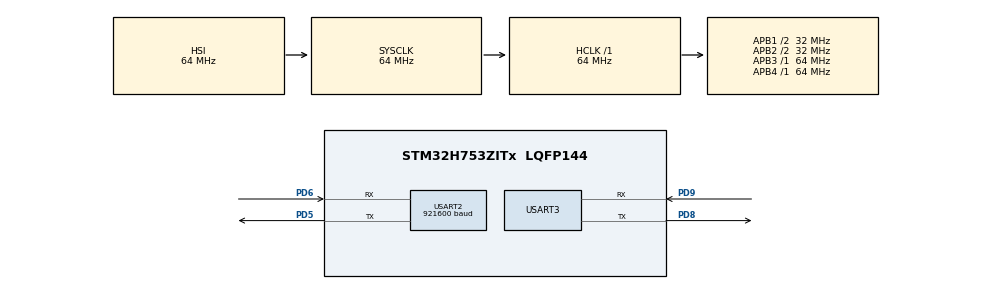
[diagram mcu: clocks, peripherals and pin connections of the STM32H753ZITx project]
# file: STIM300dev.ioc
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CORTEX_M7.default_mode_Activation=1
Dma.Request0=USART2_RX
Dma.USART2_RX.0.Direction=DMA_PERIPH_TO_MEMORY
Dma.USART2_RX.0.EventEnable=DISABLE
Dma.USART2_RX.0.FIFOMode=DMA_FIFOMODE_DISABLE
Dma.USART2_RX.0.Instance=DMA1_Stream1
Dma.USART2_RX.0.MemDataAlignment=DMA_MDATAALIGN_BYTE
Dma.USART2_RX.0.MemInc=DMA_MINC_ENABLE
Dma.USART2_RX.0.Mode=DMA_CIRCULAR
Dma.USART2_RX.0.PeriphDataAlignment=DMA_PDATAALIGN_BYTE
Dma.USART2_RX.0.PeriphInc=DMA_PINC_DISABLE
Dma.USART2_RX.0.Polarity=HAL_DMAMUX_REQ_GEN_RISING
Dma.USART2_RX.0.Priority=DMA_PRIORITY_LOW
Dma.USART2_RX.0.RequestNumber=1
Dma.USART2_RX.0.SignalID=NONE
Dma.USART2_RX.0.SyncEnable=DISABLE
Dma.USART2_RX.0.SyncPolarity=HAL_DMAMUX_SYNC_NO_EVENT
Dma.USART2_RX.0.SyncRequestNumber=1
Dma.USART2_RX.0.SyncSignalID=NONE
Mcu.Family=STM32H7
Mcu.Name=STM32H753ZITx
Mcu.Package=LQFP144
NVIC.DMA1_Stream1_IRQn=true\:0\:0\:false\:false\:true\:false\:true\:true
NVIC.PriorityGroup=NVIC_PRIORITYGROUP_4
NVIC.USART2_IRQn=true\:0\:0\:false\:false\:true\:true\:true\:true
PD5.Mode=Asynchronous
PD5.Signal=USART2_TX
PD6.Mode=Asynchronous
PD6.Signal=USART2_RX
PD8.Mode=Asynchronous
PD8.Signal=USART3_TX
PD9.Mode=Asynchronous
PD9.Signal=USART3_RX
ProjectManager.HeapSize=0x200
ProjectManager.StackSize=0x400
ProjectManager.TargetToolchain=STM32CubeIDE
RCC.ADCFreq_Value=129000000
RCC.APB1Freq_Value=32000000
RCC.APB2Freq_Value=32000000
RCC.APB3Freq_Value=64000000
RCC.APB4Freq_Value=64000000
RCC.CortexFreq_Value=64000000
RCC.D2PPRE1=RCC_APB1_DIV2
RCC.D2PPRE2=RCC_APB2_DIV2
RCC.HCLKFreq_Value=64000000
RCC.SYSCLKFreq_VALUE=64000000
RCC.USBFreq_Value=129000000
USART2.BaudRate=921600
USART2.VirtualMode-Asynchronous=VM_ASYNC
USART3.VirtualMode-Asynchronous=VM_ASYNC
VP_MEMORYMAP_VS_MEMORYMAP.Mode=CurAppReg
board=custom

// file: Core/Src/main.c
/* USER CODE BEGIN Header */
/**
  ******************************************************************************
  * @file           : main.c
  * @brief          : Main program body
  ******************************************************************************
  * @attention
  *
  * Copyright (c) 2026 STMicroelectronics.
  * All rights reserved.
  *
  * This software is licensed under terms that can be found in the LICENSE file
  * in the root directory of this software component.
  * If no LICENSE file comes with this software, it is provided AS-IS.
  *
  ******************************************************************************
  */
/* USER CODE END Header */
#include "main.h"

/* USER CODE BEGIN Includes */
#include <stdio.h>
#include <string.h>          // for memcpy
/* USER CODE END Includes */

/* USER CODE BEGIN PTD */
// One sensor group as sent by the STIM: X, Y, Z followed by one status byte (Table 6-19)
typedef struct {
  int32_t xyz[3];      // 24-bit two's complement raw counts, sign-extended to 32 bits
  uint8_t status;      // status byte, Table 6-22 (0 = OK)
} stim_axis3_t;

// Temperatures for one sensor group: X, Y, Z (16-bit) followed by one status byte
typedef struct {
  int16_t xyz[3];      // 16-bit two's complement raw counts
  uint8_t status;
} stim_temp3_t;

// One decoded Normal Mode datagram (ID 0xAF), raw counts, no unit conversion
typedef struct {
  stim_axis3_t gyro;         // bytes 1-10
  stim_axis3_t accel;        // bytes 11-20
  stim_axis3_t incl;         // bytes 21-30
  stim_temp3_t gyro_temp;    // bytes 31-37
  stim_temp3_t accel_temp;   // bytes 38-44
  stim_temp3_t incl_temp;    // bytes 45-51
  int32_t      aux;          // bytes 52-54 (24-bit)
  uint8_t      aux_status;   // byte 55
  uint8_t      counter;      // byte 56, internal sample counter (2000/s, wraps at 255)
  uint16_t     latency_us;   // bytes 57-58, unsigned, already in microseconds
  uint8_t      valid;        // 1 if all 7 status bytes are 0
  uint64_t     timestamp_us; // filled in later (step 5)
} stim_sample_t;
/* USER CODE END PTD */

/* USER CODE BEGIN PD */
#define RX_BUF_SIZE 1024
#define STIM_FRAME_LEN 63
#define STIM_FRAME_ID 0xAF

//
#define STIM_S24_SIGN_BIT   (1u << 23)     // sign bit of a 24-bit two's complement value
#define STIM_S24_EXTEND     0xFF000000u    // bits 31-24: set to 1 for negative values -- sign extension

//crc
#define STIM_CRC_POLY      0x04C11DB7u   // datasheet 6.3.7
#define STIM_CRC_SEED      0xFFFFFFFFu   // datasheet 6.3.7
#define STIM_CRC_DATA_LEN  59            // bytes 0..58 are covered by the CRC

/* USER CODE END PD */

UART_HandleTypeDef huart2;
UART_HandleTypeDef huart3;
DMA_HandleTypeDef hdma_usart2_rx;

/* USER CODE BEGIN PV */
__attribute__((aligned(32)))
static uint8_t stim_rx[RX_BUF_SIZE];          // DMA writes STIM300 bytes here (circular)
static uint8_t stim_frame[STIM_FRAME_LEN];
static stim_sample_t stim_latest;   // most recent verified, decoded sample
static uint16_t rx_last = 0;                  // where we stopped reading last time
static int  stim_frame_wr_index = 0;          // Write index for stim_frame 0 to 63
static volatile uint32_t stim_frames = 0;     // how many complete frames have been assembled?
static volatile uint32_t stim_bytes = 0;      // bytes received this second
static uint8_t stim_synced = 0;
static volatile uint32_t stim_errors = 0;     // UART errors (framing, overrun, noise)
//crc
static volatile uint32_t stim_crc_errors = 0;   // frames dropped because the CRC didn't match

// Frame 20 pre-captured data, used for a CRC self-test at startup (expected CRC = 9E9ED1D9)
static const uint8_t stim_test_frame[STIM_FRAME_LEN] = {
  0xAF,0xFF,0xE9,0xF8,0xFF,0xB0,0x2E,0x00,0x3E,0x40,0x00,0xFF,0xE2,0x3B,0xFF,0xF3,
  0x00,0x0F,0xEE,0x91,0x00,0xFF,0x63,0x92,0xFF,0xB1,0x47,0x41,0xF2,0x88,0x00,0x25,
  0xE7,0x25,0xE4,0x25,0x67,0x00,0x25,0xF7,0x25,0xEC,0x26,0x04,0x00,0x26,0x80,0x26,
  0xAC,0x26,0x80,0x00,0xFF,0xFD,0x43,0x00,0x41,0x01,0xFB,0x9E,0x9E,0xD1,0xD9 };

//state
typedef enum {
    HUNT,
    COLLECT
} stim_frame_state_t;

static stim_frame_state_t stim_frame_state = HUNT;
/* USER CODE END PV */

void SystemClock_Config(void);
static void MPU_Config(void);
static void MX_GPIO_Init(void);
static void MX_DMA_Init(void);
static void MX_USART3_UART_Init(void);
static void MX_USART2_UART_Init(void);
/* USER CODE BEGIN PFP */
static void stim_feed(const uint8_t *data, uint16_t len);
static void stim_decode(const uint8_t *frame, stim_sample_t *out);

static int32_t stim_s24(const uint8_t *p);
static int16_t stim_s16(const uint8_t *p);

//crc
static uint32_t stim_crc32_byte(uint32_t crc, uint8_t byte);
static int stim_frame_crc_ok(const uint8_t *frame);
/* USER CODE END PFP */

/* USER CODE BEGIN 0 */
// printf ends up here: send each character out USART3 (ST-LINK virtual COM port)
int __io_putchar(int ch)
{
  HAL_UART_Transmit(&huart3, (uint8_t *)&ch, 1, HAL_MAX_DELAY);
  return ch;
}
/* USER CODE END 0 */

int main(void)
{

  /* USER CODE BEGIN 1 */
	//SCnSCB->ACTLR |= SCnSCB_ACTLR_DISDEFWBUF_Msk;   // DEBUG: make bus faults precise
  /* USER CODE END 1 */

  /* MPU Configuration--------------------------------------------------------*/
  MPU_Config();

  /* MCU Configuration--------------------------------------------------------*/

  /* Reset of all peripherals, Initializes the Flash interface and the Systick. */
  HAL_Init();

  /* Configure the system clock */
  SystemClock_Config();

  /* Initialize all configured peripherals */
  MX_GPIO_Init();
  MX_DMA_Init();
  MX_USART3_UART_Init();
  MX_USART2_UART_Init();
  /* USER CODE BEGIN 2 */
  setvbuf(stdout, NULL, _IONBF, 0);       // turn off printf buffering so text appears immediately
  printf("\r\nSTIM300 test start\r\n");   // board booted and printf works
  //crc
  printf("CRC self-test: %s\r\n", stim_frame_crc_ok(stim_test_frame) ? "PASS" : "FAIL");
  printf("s24 test: %ld %ld\r\n", (long)stim_s24(&stim_test_frame[1]), (long)stim_s24(&stim_test_frame[7]));
  stim_sample_t t;
  stim_decode(stim_test_frame, &t);
  printf("decode test: accZ %ld inclZ %ld gyroT_X %d lat %u cnt %u valid %u\r\n",
         (long)t.accel.xyz[2], (long)t.incl.xyz[2], (int)t.gyro_temp.xyz[0],
         (unsigned)t.latency_us, (unsigned)t.counter, (unsigned)t.valid);
  // next two lines fixes uart error at startup..
  __HAL_UART_SEND_REQ(&huart2, UART_RXDATA_FLUSH_REQUEST);  // throw away the stale byte sitting in RDR
  __HAL_UART_CLEAR_OREFLAG(&huart2);                        // clear the overrun flag left over from before
  //Start USART2 reception with circular DMA + idle-line detection (runs forever)
  if (HAL_UARTEx_ReceiveToIdle_DMA(&huart2, stim_rx, RX_BUF_SIZE) != HAL_OK)
  {
    printf("DMA start failed\r\n");
  }//georg
  uint32_t t_last = HAL_GetTick();        // current time in ms, for the 1 s status print
  /* USER CODE END 2 */

  /* Infinite loop */
  while (1)
  {

    /* USER CODE BEGIN 3 */
    if (HAL_GetTick() - t_last >= 1000)
    {
      t_last += 1000;
      uint32_t n = stim_bytes;
      stim_bytes = 0;
      uint32_t f = stim_frames;
      stim_frames = 0;
      //printf("STIM: %lu bytes/s, %lu frames/s, errors: %lu\r\n", n, f, stim_errors);
      //crc
      printf("STIM: %lu bytes/s, %lu frames/s, crc errors: %lu, uart errors: %lu\r\n",
             n, f, stim_crc_errors, stim_errors);
      printf("  accZ %ld  inclZ %ld  gyroT_X %d  lat %u  cnt %u  valid %u\r\n",
             (long)stim_latest.accel.xyz[2], (long)stim_latest.incl.xyz[2],
             (int)stim_latest.gyro_temp.xyz[0], (unsigned)stim_latest.latency_us,
             (unsigned)stim_latest.counter, (unsigned)stim_latest.valid);
    }
  }
  /* USER CODE END 3 */
}

void SystemClock_Config(void)
{
  RCC_OscInitTypeDef RCC_OscInitStruct = {0};
  RCC_ClkInitTypeDef RCC_ClkInitStruct = {0};

  /** Supply configuration update enable
  */
  HAL_PWREx_ConfigSupply(PWR_LDO_SUPPLY);

  /** Configure the main internal regulator output voltage
  */
  __HAL_PWR_VOLTAGESCALING_CONFIG(PWR_REGULATOR_VOLTAGE_SCALE3);

  while(!__HAL_PWR_GET_FLAG(PWR_FLAG_VOSRDY)) {}

  /** Initializes the RCC Oscillators according to the specified parameters
  * in the RCC_OscInitTypeDef structure.
  */
  RCC_OscInitStruct.OscillatorType = RCC_OSCILLATORTYPE_HSI;
  RCC_OscInitStruct.HSIState = RCC_HSI_DIV1;
  RCC_OscInitStruct.HSICalibrationValue = RCC_HSICALIBRATION_DEFAULT;
  RCC_OscInitStruct.PLL.PLLState = RCC_PLL_NONE;
  if (HAL_RCC_OscConfig(&RCC_OscInitStruct) != HAL_OK)
  {
    Error_Handler();
  }

  /** Initializes the CPU, AHB and APB buses clocks
  */
  RCC_ClkInitStruct.ClockType = RCC_CLOCKTYPE_HCLK|RCC_CLOCKTYPE_SYSCLK
                              |RCC_CLOCKTYPE_PCLK1|RCC_CLOCKTYPE_PCLK2
                              |RCC_CLOCKTYPE_D3PCLK1|RCC_CLOCKTYPE_D1PCLK1;
  RCC_ClkInitStruct.SYSCLKSource = RCC_SYSCLKSOURCE_HSI;
  RCC_ClkInitStruct.SYSCLKDivider = RCC_SYSCLK_DIV1;
  RCC_ClkInitStruct.AHBCLKDivider = RCC_HCLK_DIV1;
  RCC_ClkInitStruct.APB3CLKDivider = RCC_APB3_DIV1;
  RCC_ClkInitStruct.APB1CLKDivider = RCC_APB1_DIV2;
  RCC_ClkInitStruct.APB2CLKDivider = RCC_APB2_DIV2;
  RCC_ClkInitStruct.APB4CLKDivider = RCC_APB4_DIV1;

  if (HAL_RCC_ClockConfig(&RCC_ClkInitStruct, FLASH_LATENCY_1) != HAL_OK)
  {
    Error_Handler();
  }
}

static void MX_USART2_UART_Init(void)
{

  huart2.Instance = USART2;
  huart2.Init.BaudRate = 921600;
  huart2.Init.WordLength = UART_WORDLENGTH_8B;
  huart2.Init.StopBits = UART_STOPBITS_1;
  huart2.Init.Parity = UART_PARITY_NONE;
  huart2.Init.Mode = UART_MODE_TX_RX;
  huart2.Init.HwFlowCtl = UART_HWCONTROL_NONE;
  huart2.Init.OverSampling = UART_OVERSAMPLING_16;
  huart2.Init.OneBitSampling = UART_ONE_BIT_SAMPLE_DISABLE;
  huart2.Init.ClockPrescaler = UART_PRESCALER_DIV1;
  huart2.AdvancedInit.AdvFeatureInit = UART_ADVFEATURE_NO_INIT;
  if (HAL_UART_Init(&huart2) != HAL_OK)
  {
    Error_Handler();
  }
  if (HAL_UARTEx_SetTxFifoThreshold(&huart2, UART_TXFIFO_THRESHOLD_1_8) != HAL_OK)
  {
    Error_Handler();
  }
  if (HAL_UARTEx_SetRxFifoThreshold(&huart2, UART_RXFIFO_THRESHOLD_1_8) != HAL_OK)
  {
    Error_Handler();
  }
  if (HAL_UARTEx_DisableFifoMode(&huart2) != HAL_OK)
  {
    Error_Handler();
  }

}

static void MX_USART3_UART_Init(void)
{

  huart3.Instance = USART3;
  huart3.Init.BaudRate = 115200;
  huart3.Init.WordLength = UART_WORDLENGTH_8B;
  huart3.Init.StopBits = UART_STOPBITS_1;
  huart3.Init.Parity = UART_PARITY_NONE;
  huart3.Init.Mode = UART_MODE_TX_RX;
  huart3.Init.HwFlowCtl = UART_HWCONTROL_NONE;
  huart3.Init.OverSampling = UART_OVERSAMPLING_16;
  huart3.Init.OneBitSampling = UART_ONE_BIT_SAMPLE_DISABLE;
  huart3.Init.ClockPrescaler = UART_PRESCALER_DIV1;
  huart3.AdvancedInit.AdvFeatureInit = UART_ADVFEATURE_NO_INIT;
  if (HAL_UART_Init(&huart3) != HAL_OK)
  {
    Error_Handler();
  }
  if (HAL_UARTEx_SetTxFifoThreshold(&huart3, UART_TXFIFO_THRESHOLD_1_8) != HAL_OK)
  {
    Error_Handler();
  }
  if (HAL_UARTEx_SetRxFifoThreshold(&huart3, UART_RXFIFO_THRESHOLD_1_8) != HAL_OK)
  {
    Error_Handler();
  }
  if (HAL_UARTEx_DisableFifoMode(&huart3) != HAL_OK)
  {
    Error_Handler();
  }

}

static void MX_DMA_Init(void)
{

  /* DMA controller clock enable */
  __HAL_RCC_DMA1_CLK_ENABLE();

  /* DMA interrupt init */
  /* DMA1_Stream1_IRQn interrupt configuration */
  HAL_NVIC_SetPriority(DMA1_Stream1_IRQn, 0, 0);
  HAL_NVIC_EnableIRQ(DMA1_Stream1_IRQn);

}

static void MX_GPIO_Init(void)
{

  /* GPIO Ports Clock Enable */
  __HAL_RCC_GPIOD_CLK_ENABLE();

}

/* USER CODE BEGIN 4 */

static int32_t stim_s24(const uint8_t *p)
{
  uint32_t v = ((int32_t)p[0] << 16) | ((int32_t)p[1] << 8) | (int32_t)p[2];  // 0 .. 0xFFFFFF
  if (v & STIM_S24_SIGN_BIT)    // bit 23 set: the 24-bit value is negative
  {
    v |= STIM_S24_EXTEND;            // Sign extension -- pad 1's to bit 31-24 so it's a negative number
  }
  return (int32_t)v; // cast signed v
}

static int16_t stim_s16(const uint8_t *p)
{
  uint16_t v = ((uint16_t)p[0] << 8) | (uint16_t)p[1];
  return (int16_t)v;
}

// Called by HAL (from interrupt) on DMA half-full, DMA full, and UART idle line
void HAL_UARTEx_RxEventCallback(UART_HandleTypeDef *huart, uint16_t pos)
{
  if (huart->Instance != USART2) return;   // only handle the STIM300 UART

  // D-cache is off right now; this keeps the code correct if it is enabled later
  SCB_InvalidateDCache_by_Addr((uint32_t *)stim_rx, RX_BUF_SIZE); // relies that stim_rx is aligned 32 bit

  // pos     = how far the DMA has written into the buffer (0..1024)
  // rx_last = where we stopped reading last time (not necessarily a datagram boundary)
  if (pos != rx_last)
  {
    if (pos > rx_last)
    {
      // one continuous block
      stim_feed(&stim_rx[rx_last], pos - rx_last); // aka send dma buffer from rx_last to (pos-rx_last )
    }
    else
    {
      // DMA wrapped around: rest of the buffer, then the start
      if (rx_last < RX_BUF_SIZE)
      {
        stim_feed(&stim_rx[rx_last], RX_BUF_SIZE - rx_last);
      }
      stim_feed(stim_rx, pos);
    }
    rx_last = pos;   // keep 1024 as-is so a duplicate "pos = 1024" event is ignored
  }
}

// Any UART error stops reception in HAL: count it and restart
void HAL_UART_ErrorCallback(UART_HandleTypeDef *huart)
{
  if (huart->Instance == USART2)
  {
    stim_errors++;
    rx_last = 0;
    HAL_UARTEx_ReceiveToIdle_DMA(&huart2, stim_rx, RX_BUF_SIZE);
  }
}

//crc
// Feed one byte into the CRC-32: MSB first, no reflection (datasheet 6.3.7)
static uint32_t stim_crc32_byte(uint32_t crc, uint8_t byte)
{
  crc ^= (uint32_t)byte << 24;            // put the byte into the top 8 bits of the register
  for (int bit = 0; bit < 8; bit++)
  {
    if (crc & 0x80000000u)                // top bit is 1: shift it out and XOR in the polynomial
      crc = (crc << 1) ^ STIM_CRC_POLY;
    else                                  // top bit is 0: just shift
      crc = crc << 1;
  }
  return crc;
}

// Returns 1 if bytes 59..62 match the CRC of bytes 0..58 plus one 0x00 dummy byte
static int stim_frame_crc_ok(const uint8_t *frame)
{
  uint32_t crc = STIM_CRC_SEED;
  for (int i = 0; i < STIM_CRC_DATA_LEN; i++)
  {
    crc = stim_crc32_byte(crc, frame[i]);
  }
  crc = stim_crc32_byte(crc, 0x00);       // dummy byte for the 0xAF datagram (Table 6-21)

  uint32_t rx_crc = ((uint32_t)frame[59] << 24) |   // CRC is sent most significant byte first
                    ((uint32_t)frame[60] << 16) |
                    ((uint32_t)frame[61] << 8)  |
                     (uint32_t)frame[62];
  return crc == rx_crc;
}

// Decode a CRC-verified 0xAF frame (63 bytes) into raw-count fields (Table 6-19)
// Decode a CRC-verified 0xAF frame (63 bytes) into raw-count fields (Table 6-19)
static void stim_decode(const uint8_t *frame, stim_sample_t *out)
{
  for (int k = 0; k < 3; k++)   // k = 0, 1, 2 -> X, Y, Z
  {
    out->gyro.xyz[k]       = stim_s24(&frame[1 + 3 * k]);
    out->accel.xyz[k]      = stim_s24(&frame[11 + 3 * k]);
    out->incl.xyz[k]       = stim_s24(&frame[21 + 3 * k]);

    out->gyro_temp.xyz[k]  = stim_s16(&frame[31 + 2 * k]);
    out->accel_temp.xyz[k] = stim_s16(&frame[38 + 2 * k]);
    out->incl_temp.xyz[k]  = stim_s16(&frame[45 + 2 * k]);
  }

  out->gyro.status       = frame[10];
  out->accel.status      = frame[20];
  out->incl.status       = frame[30];
  out->gyro_temp.status  = frame[37];
  out->accel_temp.status = frame[44];
  out->incl_temp.status  = frame[51];

  out->aux        = stim_s24(&frame[52]);
  out->aux_status = frame[55];
  out->counter    = frame[56];
  out->latency_us = (uint16_t)((frame[57]<<8) | frame[58]);

  out->valid = (out->gyro.status | out->accel.status | out->incl.status | out->gyro_temp.status | out->accel_temp.status | out->incl_temp.status | out->aux_status) == 0;
}

static void new_byte_arrived(const uint8_t data)
 {
     switch (stim_frame_state)
     {
     case HUNT:
    	 if (data == STIM_FRAME_ID) {
    		 stim_frame_wr_index = 0;
    		 stim_frame[stim_frame_wr_index] = data;
    		 stim_frame_state = COLLECT;
    	 }
         break;

     case COLLECT:
    	 stim_frame_wr_index += 1;
    	 stim_frame[stim_frame_wr_index] = data;
    	 if (stim_frame_wr_index == (STIM_FRAME_LEN-1)) {
			 if (stim_frame_crc_ok(stim_frame)) {//crc
			   stim_decode(stim_frame, &stim_latest);
			   stim_synced = 1;
			   stim_frames += 1;               // verified frame
			 } else {
				 if (stim_synced == 1) { // Reception can start mid-frame, so the first lock may be false.
					 stim_crc_errors += 1;           // false lock or corrupted frame: drop it
				 }
			   //stim_synced = 0;
			 }
         stim_frame_state = HUNT;          // start over
    	 }
    	 break;
     }
 }

static void stim_feed(const uint8_t *data, uint16_t len) // personal note: i get in data, use len to not use more than necessary blabla
{
  stim_bytes += len;   // replace with the real datagram parser later
  for(int i = 0; i < len; ++i) {
	  new_byte_arrived(data[i]);
  }

}

/* USER CODE END 4 */

 /* MPU Configuration */

void MPU_Config(void)
{
  MPU_Region_InitTypeDef MPU_InitStruct = {0};

  /* Disables the MPU */
  HAL_MPU_Disable();

  /** Initializes and configures the Region and the memory to be protected
  */
  MPU_InitStruct.Enable = MPU_REGION_ENABLE;
  MPU_InitStruct.Number = MPU_REGION_NUMBER0;
  MPU_InitStruct.BaseAddress = 0x0;
  MPU_InitStruct.Size = MPU_REGION_SIZE_4GB;
  MPU_InitStruct.SubRegionDisable = 0x87;
  MPU_InitStruct.TypeExtField = MPU_TEX_LEVEL0;
  MPU_InitStruct.AccessPermission = MPU_REGION_NO_ACCESS;
  MPU_InitStruct.DisableExec = MPU_INSTRUCTION_ACCESS_DISABLE;
  MPU_InitStruct.IsShareable = MPU_ACCESS_SHAREABLE;
  MPU_InitStruct.IsCacheable = MPU_ACCESS_NOT_CACHEABLE;
  MPU_InitStruct.IsBufferable = MPU_ACCESS_NOT_BUFFERABLE;

  HAL_MPU_ConfigRegion(&MPU_InitStruct);
  /* Enables the MPU */
  HAL_MPU_Enable(MPU_PRIVILEGED_DEFAULT);

}

void Error_Handler(void)
{
  __disable_irq();
  while (1)
  {
  }
}
